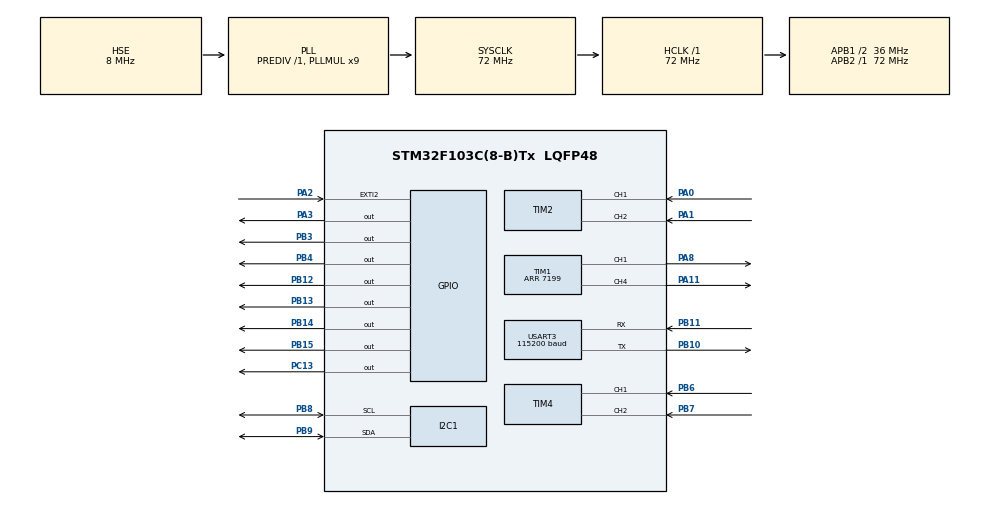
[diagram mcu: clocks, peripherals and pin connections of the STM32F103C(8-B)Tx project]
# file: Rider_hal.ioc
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Dma.Request0=USART3_RX
Dma.Request1=USART3_TX
Dma.USART3_RX.0.Direction=DMA_PERIPH_TO_MEMORY
Dma.USART3_RX.0.Instance=DMA1_Channel3
Dma.USART3_RX.0.MemDataAlignment=DMA_MDATAALIGN_BYTE
Dma.USART3_RX.0.MemInc=DMA_MINC_ENABLE
Dma.USART3_RX.0.Mode=DMA_CIRCULAR
Dma.USART3_RX.0.PeriphDataAlignment=DMA_PDATAALIGN_BYTE
Dma.USART3_RX.0.PeriphInc=DMA_PINC_DISABLE
Dma.USART3_RX.0.Priority=DMA_PRIORITY_VERY_HIGH
Dma.USART3_TX.1.Direction=DMA_MEMORY_TO_PERIPH
Dma.USART3_TX.1.Instance=DMA1_Channel2
Dma.USART3_TX.1.MemDataAlignment=DMA_MDATAALIGN_BYTE
Dma.USART3_TX.1.MemInc=DMA_MINC_ENABLE
Dma.USART3_TX.1.Mode=DMA_NORMAL
Dma.USART3_TX.1.PeriphDataAlignment=DMA_PDATAALIGN_BYTE
Dma.USART3_TX.1.PeriphInc=DMA_PINC_DISABLE
Dma.USART3_TX.1.Priority=DMA_PRIORITY_HIGH
Mcu.Family=STM32F1
Mcu.Name=STM32F103C(8-B)Tx
Mcu.Package=LQFP48
NVIC.DMA1_Channel2_IRQn=true\:0\:0\:false\:false\:true\:false\:true\:true
NVIC.DMA1_Channel3_IRQn=true\:0\:0\:false\:false\:true\:false\:true\:true
NVIC.EXTI2_IRQn=true\:0\:0\:false\:false\:true\:true\:true\:true
NVIC.PriorityGroup=NVIC_PRIORITYGROUP_4
NVIC.USART3_IRQn=true\:0\:0\:false\:false\:true\:true\:true\:true
PA0-WKUP.Signal=S_TIM2_CH1_ETR
PA1.Signal=S_TIM2_CH2
PA11.Signal=S_TIM1_CH4
PA13.Mode=Serial_Wire
PA13.Signal=SYS_JTMS-SWDIO
PA14.Mode=Serial_Wire
PA14.Signal=SYS_JTCK-SWCLK
PA2.GPIO_ModeDefaultEXTI=GPIO_MODE_IT_RISING_FALLING
PA2.Signal=GPXTI2
PA3.GPIO_Speed=GPIO_SPEED_FREQ_HIGH
PA3.Signal=GPIO_Output
PA8.Signal=S_TIM1_CH1
PB10.Mode=Asynchronous
PB10.Signal=USART3_TX
PB11.Mode=Asynchronous
PB11.Signal=USART3_RX
PB12.Signal=GPIO_Output
PB13.Signal=GPIO_Output
PB14.Signal=GPIO_Output
PB15.Signal=GPIO_Output
PB3.GPIO_Speed=GPIO_SPEED_FREQ_HIGH
PB3.Signal=GPIO_Output
PB4.GPIO_Speed=GPIO_SPEED_FREQ_HIGH
PB4.Signal=GPIO_Output
PB6.Signal=S_TIM4_CH1
PB7.Signal=S_TIM4_CH2
PB8.Mode=I2C
PB8.Signal=I2C1_SCL
PB9.Mode=I2C
PB9.Signal=I2C1_SDA
PC13-TAMPER-RTC.Signal=GPIO_Output
PC14-OSC32_IN.Mode=LSE-External-Oscillator
PC14-OSC32_IN.Signal=RCC_OSC32_IN
PC15-OSC32_OUT.Mode=LSE-External-Oscillator
PC15-OSC32_OUT.Signal=RCC_OSC32_OUT
PD0-OSC_IN.Mode=HSE-External-Oscillator
PD0-OSC_IN.Signal=RCC_OSC_IN
PD1-OSC_OUT.Mode=HSE-External-Oscillator
PD1-OSC_OUT.Signal=RCC_OSC_OUT
ProjectManager.HeapSize=0x200
ProjectManager.StackSize=0x400
ProjectManager.TargetToolchain=MDK-ARM V5.32
RCC.AHBFreq_Value=72000000
RCC.APB1CLKDivider=RCC_HCLK_DIV2
RCC.APB1Freq_Value=36000000
RCC.APB1TimFreq_Value=72000000
RCC.APB2Freq_Value=72000000
RCC.APB2TimFreq_Value=72000000
RCC.HCLKFreq_Value=72000000
RCC.PLLMUL=RCC_PLL_MUL9
RCC.PLLSourceVirtual=RCC_PLLSOURCE_HSE
RCC.SYSCLKFreq_VALUE=72000000
RCC.SYSCLKSource=RCC_SYSCLKSOURCE_PLLCLK
RCC.USBFreq_Value=72000000
SH.S_TIM1_CH1.0=TIM1_CH1,PWM Generation1 CH1
SH.S_TIM1_CH4.0=TIM1_CH4,PWM Generation4 CH4
SH.S_TIM2_CH1_ETR.0=TIM2_CH1,Encoder_Interface
SH.S_TIM2_CH2.0=TIM2_CH2,Encoder_Interface
SH.S_TIM4_CH1.0=TIM4_CH1,Encoder_Interface
SH.S_TIM4_CH2.0=TIM4_CH2,Encoder_Interface
TIM1.AutoReloadPreload=TIM_AUTORELOAD_PRELOAD_ENABLE
TIM1.Channel-PWM\ Generation1\ CH1=TIM_CHANNEL_1
TIM1.Channel-PWM\ Generation4\ CH4=TIM_CHANNEL_4
TIM1.Period=7199
TIM1.Pulse-PWM\ Generation1\ CH1=7200
TIM1.Pulse-PWM\ Generation4\ CH4=7200
TIM2.EncoderMode=TIM_ENCODERMODE_TI12
TIM3.Prescaler=72-1
TIM4.EncoderMode=TIM_ENCODERMODE_TI12
USART3.BaudRate=115200
USART3.VirtualMode=VM_ASYNC
VP_TIM3_VS_ClockSourceINT.Mode=Internal
board=custom

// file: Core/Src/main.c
/* USER CODE BEGIN Header */
/**
  ******************************************************************************
  * @file           : main.c
  * @brief          : Main program body
  ******************************************************************************
  * @attention
  *
  * Copyright (c) 2025 STMicroelectronics.
  * All rights reserved.
  *
  * This software is licensed under terms that can be found in the LICENSE file
  * in the root directory of this software component.
  * If no LICENSE file comes with this software, it is provided AS-IS.
  *
  ******************************************************************************
  */
/* USER CODE END Header */
#include "main.h"
#include "dma.h"
#include "i2c.h"
#include "tim.h"
#include "usart.h"
#include "gpio.h"

/* USER CODE BEGIN Includes */

#include "oled.h"
#include "MPU6050.h"
#include "string.h"
#include "stdio.h"
#include "dwt_delay.h"
#include "Ultrasonic.h"
#include <math.h>
#include "motor.h"
#include <encoder.h>
#include "vofa.h"
#include "pid.h"
#include "BluetoothControl.h"

/* USER CODE END Includes */

/* USER CODE BEGIN PTD */

// 为了让中断也可以用，声明放在main函数外

extern volatile float accel_angle;  // 加速度计获取的角度
extern volatile float gyro_angle;   // 陀螺仪获取的角度
extern volatile float fused_angle;  // 融合后的角度
extern float gyro_x_speed;          // x轴的角速度
extern float gyro_z_speed;          // z轴的角速度

extern volatile uint8_t isFinish;  // 测量完成标志位
extern volatile uint16_t count;  // 定时器的值（高电平持续时间）

int Encoder_Left = 0;      // 左轮速度
int Encoder_Rigth = 0;     // 右轮速度

uint8_t System_Ready = 0; // 系统就绪标志位

uint8_t oled_task_stage = 0;   // OLED状态

extern VofaData g_vofa_frame;  // VOFA+公告板
extern float mechanical_balance_angle;  // 机械中值
extern volatile uint8_t IsParse ;           // 解析标识位
extern uint8_t Process_buffer[RX_BUFFER_SIZE + 1]; // 解析缓冲区
extern volatile uint8_t IsFall;           // 倒地标识位
extern float speed_filter_old;  // 经过滤波后的速度
extern volatile int target_speed;  // 目标速度
extern volatile int turn_cmd;  // 转向指令

extern uint32_t last_heartbeat_tick; // 上次心跳时间戳

#define CONTROL_TIMEOUT 500 // 控制指令超时时间，单位：毫秒

// uint8_t isvofa = 0;

/* USER CODE END PTD */

void SystemClock_Config(void);

int main(void)
{

  /* MCU Configuration--------------------------------------------------------*/

  /* Reset of all peripherals, Initializes the Flash interface and the Systick. */
  HAL_Init();

  /* Configure the system clock */
  SystemClock_Config();

  /* Initialize all configured peripherals */
  MX_GPIO_Init();
  MX_DMA_Init();
  MX_I2C1_Init();
  MX_USART3_UART_Init();
  MX_TIM3_Init();
  MX_TIM1_Init();
  MX_TIM2_Init();
  MX_TIM4_Init();
  /* USER CODE BEGIN 2 */

  /*====================== MPU6050初始化 ======================*/
  MPU6050_Init();
  HAL_Delay(100);   // 等待传感器稳定
  // 上电静止校准
  MPU6050_Calibrate_Gyro();
  // 让陀螺仪初始角度等于加速度计角度
  MPU6050_Get_AccelAngle();
  gyro_angle = accel_angle;
  fused_angle = accel_angle;
  // 允许滴答定时器中断开始工作
  System_Ready = 1;    // 不然在校准时，中断已经偷偷运行很久了

  /*====================== OLED初始化 ======================*/
  OLED_Init();  // 初始化oled屏幕
  OLED_Clear();  // 清屏
  // --- 打印固定不动的标签 (静态背景) ---
  // Line 0: "Angle:" (16号字体, 6个字符占 6*8=48 像素)
  OLED_ShowString(0, 0, (uint8_t*)"Angle:", 16);

  // Line 3: 分隔线
  OLED_ShowString(0, 3, (uint8_t*)"--------------", 8);

  // Line 4: "Dis:" 和 "cm"
  OLED_ShowString(0, 4, (uint8_t*)"Dis:", 12);
  OLED_ShowString(78, 4, (uint8_t*)"cm", 12);    // 24 + (9*6) = 78 (预留显示位)

  // Line 5: "L:" 和 "R:"
  OLED_ShowString(0, 6, (uint8_t*)"L:", 12);
  OLED_ShowString(64, 6, (uint8_t*)"R:", 12);    // 在屏幕中间 64 像素处开始打印 R:

  /*====================== 超声波模块初始化 ======================*/
  uint8_t isObstacle = 0;  // 0：没有障碍物，1：有障碍物
  float distance;  // 障碍物距离

  /*====================== 电机驱动模块初始化 ======================*/
  // 启动定时器1的通道1和4的PWM脉冲
  HAL_TIM_PWM_Start(&htim1, TIM_CHANNEL_1);
  HAL_TIM_PWM_Start(&htim1, TIM_CHANNEL_4);
  // 关闭电机
  Set_Motor_Speed(0, 0);

  /*====================== 编码器测速模块初始化 ======================*/
  // 启动定时器2和4的所有通道
  HAL_TIM_Encoder_Start(&htim2, TIM_CHANNEL_ALL);
  HAL_TIM_Encoder_Start(&htim4, TIM_CHANNEL_ALL);

  /*====================== VOFA+模块初始化 ======================*/
  VOFA_Init();

  /*====================== PID模块初始化 ======================*/
  PID_Init();

  /* USER CODE END 2 */

  /* Infinite loop */
  /* USER CODE BEGIN WHILE */
  char buf[20]; // 缓冲区，用于存放格式化后的字符串
  /*====================== 时间戳初始化 ======================*/
  uint32_t last_60mstime = HAL_GetTick();   // 一级时间戳
  uint32_t last_500mstime = HAL_GetTick();  // 二级时间戳
  HAL_GPIO_TogglePin(GPIOC, GPIO_PIN_13);
  while (1)
  {
    uint32_t now = HAL_GetTick();

    // if (isvofa == 1)
    // {
    //   g_vofa_frame.Reality_angle = fused_angle;
    //   g_vofa_frame.expect_angle = mechanical_balance_angle;
    //   VOFA_SendDta();
    //   isvofa = 0;
    // }

    /*====================== 优先级1：超声波 ======================*/
    if (now - last_60mstime >= 60)
    {
      /*====================== 超声波测距 ======================*/
      if (isFinish == 0)  // 如果上一次没有算完，这一次就不发
      {
        Get_Distance();
      }
      last_60mstime = now;  // 更新时间戳

    }

    /*====================== 优先级2：OLED显示 ======================*/
    if (now - last_500mstime >= 125)
    {
      last_500mstime = now;
      switch (oled_task_stage)
      {
        /*====================== 角度数据可视化 ======================*/
        case 0:
            // "Angle:" 占 48 像素，所以从 48 开始显示
            OLED_ShowSignedFloat(48, 0, fused_angle, 3, 2, 16);
            oled_task_stage = 1;
            break;
        /*====================== 速度数据可视化 ======================*/
        case 1:
            // "L:" 占 12 像素 -> x = 12
            OLED_ShowSignedNum(12, 6, Encoder_Left, 4, 12);
            // "R:" 在 64 像素处开始，标签占 12 像素 -> x = 64+12 = 76
            OLED_ShowSignedNum(76, 6, Encoder_Rigth, 4, 12);
            oled_task_stage = 2;
            break;
        /*====================== 障碍数据可视化 ======================*/
        case 2:
            OLED_ShowSignedFloat(24, 4, distance, 3, 1, 12);
            oled_task_stage = 3;
            break;
        case 3:
            // 其他显示...
            oled_task_stage = 0; // 回到第一步
            break;
      }
    }

    /*====================== 避障逻辑 ======================*/
    if (isFinish == 1)
    {
      distance = count * 0.017;  // 获取平衡车离障碍物的距离
      if (distance > 0 && distance <= 30) isObstacle = 1;
      else isObstacle = 0;
      isFinish = 0;  // 清除标识位
    }

    /*====================== 蓝牙指令处理 ======================*/
    if (IsParse == 1)
    {
      IsParse = 0;
      // VOFA_Parse_Command((char *)Process_buffer);  // 解析VOFA+数据包
      // HAL_GPIO_TogglePin(GPIOC, GPIO_PIN_13);
      Bluetooth_Parse_Binary((uint8_t *)Process_buffer);  // 解析蓝牙数据包
    }

    /*====================== 软件看门狗 ======================*/
    if (HAL_GetTick() - last_heartbeat_tick > CONTROL_TIMEOUT)
    {
      // 超时，认为通信丢失
      target_speed = 0;  // 目标速度清零
      turn_cmd = 0;     // 转向指令清零
    }

    /* USER CODE END WHILE */

  }
}

void SystemClock_Config(void)
{
  RCC_OscInitTypeDef RCC_OscInitStruct = {0};
  RCC_ClkInitTypeDef RCC_ClkInitStruct = {0};

  /** Initializes the RCC Oscillators according to the specified parameters
  * in the RCC_OscInitTypeDef structure.
  */
  RCC_OscInitStruct.OscillatorType = RCC_OSCILLATORTYPE_HSE;
  RCC_OscInitStruct.HSEState = RCC_HSE_ON;
  RCC_OscInitStruct.HSEPredivValue = RCC_HSE_PREDIV_DIV1;
  RCC_OscInitStruct.HSIState = RCC_HSI_ON;
  RCC_OscInitStruct.PLL.PLLState = RCC_PLL_ON;
  RCC_OscInitStruct.PLL.PLLSource = RCC_PLLSOURCE_HSE;
  RCC_OscInitStruct.PLL.PLLMUL = RCC_PLL_MUL9;
  if (HAL_RCC_OscConfig(&RCC_OscInitStruct) != HAL_OK)
  {
    Error_Handler();
  }

  /** Initializes the CPU, AHB and APB buses clocks
  */
  RCC_ClkInitStruct.ClockType = RCC_CLOCKTYPE_HCLK|RCC_CLOCKTYPE_SYSCLK
                              |RCC_CLOCKTYPE_PCLK1|RCC_CLOCKTYPE_PCLK2;
  RCC_ClkInitStruct.SYSCLKSource = RCC_SYSCLKSOURCE_PLLCLK;
  RCC_ClkInitStruct.AHBCLKDivider = RCC_SYSCLK_DIV1;
  RCC_ClkInitStruct.APB1CLKDivider = RCC_HCLK_DIV2;
  RCC_ClkInitStruct.APB2CLKDivider = RCC_HCLK_DIV1;

  if (HAL_RCC_ClockConfig(&RCC_ClkInitStruct, FLASH_LATENCY_2) != HAL_OK)
  {
    Error_Handler();
  }
}

/* USER CODE BEGIN 4 */

// 滴答定时器的中断回调
void HAL_SYSTICK_Callback(void)
{
  static uint32_t Htime = 0;  // static告诉编译器：这个变量只初始化一次
  static uint32_t Stime = 0;
  static float target_angle_from_speed = 0; // 缓存速度环输出的目标角度

  if (!System_Ready) return;  // 系统未就绪，直接返回

  Htime++;  // 5ms计数器
  Stime++;  // 40ms计数器

  if (Stime >= 40)
  {
    /*=================== 编码器测速 ===================*/
    // 数据波动大，做低通滤波
    // 大概率相信旧数据是因为极短时间内速度变化不会太大
    Encoder_Left = Read_Speed(&htim2);
    Encoder_Rigth = -1 * Read_Speed(&htim4);

    /*=================== 速度环PI控制器 ===================*/
    target_angle_from_speed = Speed_Control(Encoder_Left, Encoder_Rigth, fused_angle);

    Stime = 0;
  }

  if (Htime >= 5)
  {
    /*=================== 姿态解算 ===================*/
    MPU6050_get_FusedAngle_Optimized(0.005f);
    // isvofa = 1;

    if (fabs(fused_angle) > 40.0f)        IsFall = 1;
    else if (fabs(fused_angle) < 5.0f)    IsFall = 0;

    /*=================== 直立环PD控制器 ===================*/
    float pure_gyro_x_speed = gyro_x_speed - KalmanX.bias;  // 纯净的、去除了温漂的角速度
    int Upright_pwm = Upright_Control(fused_angle, pure_gyro_x_speed, target_angle_from_speed);

    /*=================== 转向环控制 ===================*/
    int Turn_pwm = Turn_Control(turn_cmd, gyro_z_speed);

    if (IsFall == 1)
    {
      Set_Motor_Speed(0, 0); // 倒地强制关机
      target_angle_from_speed = 0;  // 把缓存的速度环输出值清零
    }
    else
    {
      // 这里的 target_angle_from_speed 是 40ms 更新一次的全局/静态变量
      Set_Motor_Speed(Upright_pwm + Turn_pwm, Upright_pwm - Turn_pwm);
    }

    Htime = 0;  // 复位计数器
  }
}

/* USER CODE END 4 */

void Error_Handler(void)
{
  __disable_irq();
  while (1)
  {
  }
}
